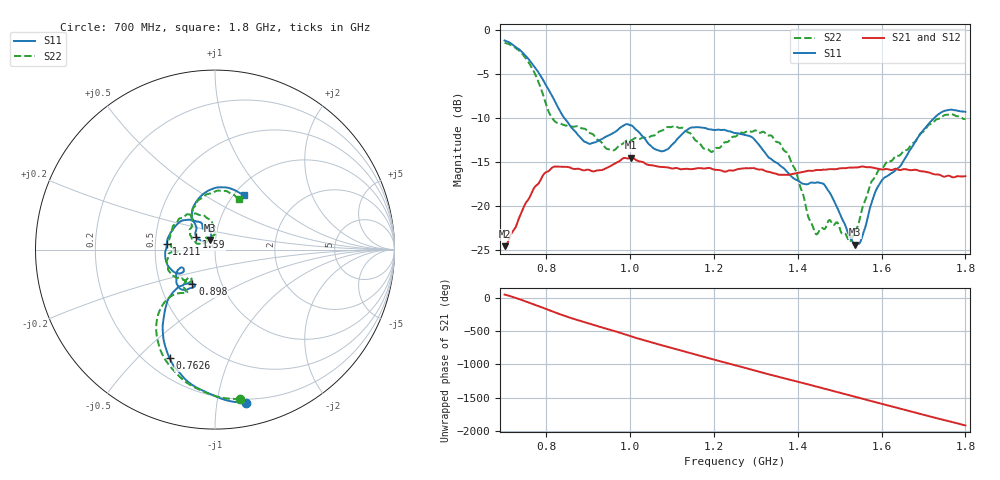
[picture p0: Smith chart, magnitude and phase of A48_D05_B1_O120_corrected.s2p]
! Created with skrf 1.9.0 (http://scikit-rf.org).
# Hz S RI R 50.0
!freq ReS11 ImS11 ReS21 ImS21 ReS12 ImS12 ReS22 ImS22
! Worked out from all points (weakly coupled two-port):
!   1601 points, 700 MHz to 1.8 GHz, reference 50 ohm
!   highest |S21| = -14.50 dB at 1.002 GHz (marker M1); lowest = -24.5 dB at 700 MHz (marker M2)
!   lowest |S11| = -24.4 dB at 1.537 GHz (marker M3), VSWR 1.13, Z = 47.1 + j5.08 ohm
!   |S11| at or under -10 dB: 842.3 MHz to 1.726 GHz (883.3 MHz wide, 68.8 % of centre)
!   |S22| runs from -24.1 to -1.5 dB; largest |S21 - S12| = 0.0034
!   S11 on the Smith chart (normalised r, x): 700 MHz: 0.17, -1.21; 762.6 MHz: 0.29, -0.63; 898 MHz: 0.73, -0.29; 1.211 GHz: 0.57, +0.04; 1.59 GHz: 0.80, +0.12; 1.8 GHz: 1.11, +0.76
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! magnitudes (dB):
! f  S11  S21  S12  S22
! 700 MHz  -1.2  -24.5  -24.3  -1.5
! 762.6 MHz  -3.7  -18.7  -18.7  -4.1
! 816.9 MHz  -7.8  -15.5  -15.6  -10.2
! 883.6 MHz  -12.3  -15.9  -15.8  -11.2
! 898 MHz  -12.8  -15.9  -15.9  -11.5
! 954.4 MHz  -11.8  -15.4  -15.4  -13.6
! 1.002 GHz  -10.8  -14.5  -14.6  -12.5
! 1.067 GHz  -13.7  -15.5  -15.5  -11.6
! 1.145 GHz  -11.1  -15.8  -15.8  -11.8
! 1.211 GHz  -11.3  -15.9  -15.9  -13.4
! 1.25 GHz  -11.7  -15.9  -15.8  -12.1
! 1.357 GHz  -15.4  -16.4  -16.4  -12.9
! 1.394 GHz  -17.0  -16.3  -16.3  -15.9
! 1.434 GHz  -17.3  -16.0  -16.0  -22.1
! 1.467 GHz  -17.8  -15.9  -15.8  -22.4
! 1.524 GHz  -23.4  -15.6  -15.6  -24.1
! 1.537 GHz  -24.4  -15.6  -15.6  -22.8
! 1.552 GHz  -23.7  -15.5  -15.5  -20.6
! 1.59 GHz  -17.9  -15.8  -15.7  -16.2
! 1.617 GHz  -16.5  -15.8  -15.8  -14.9
! 1.733 GHz  -9.7  -16.4  -16.4  -10.1
! 1.8 GHz  -9.3  -16.6  -16.6  -10.1
